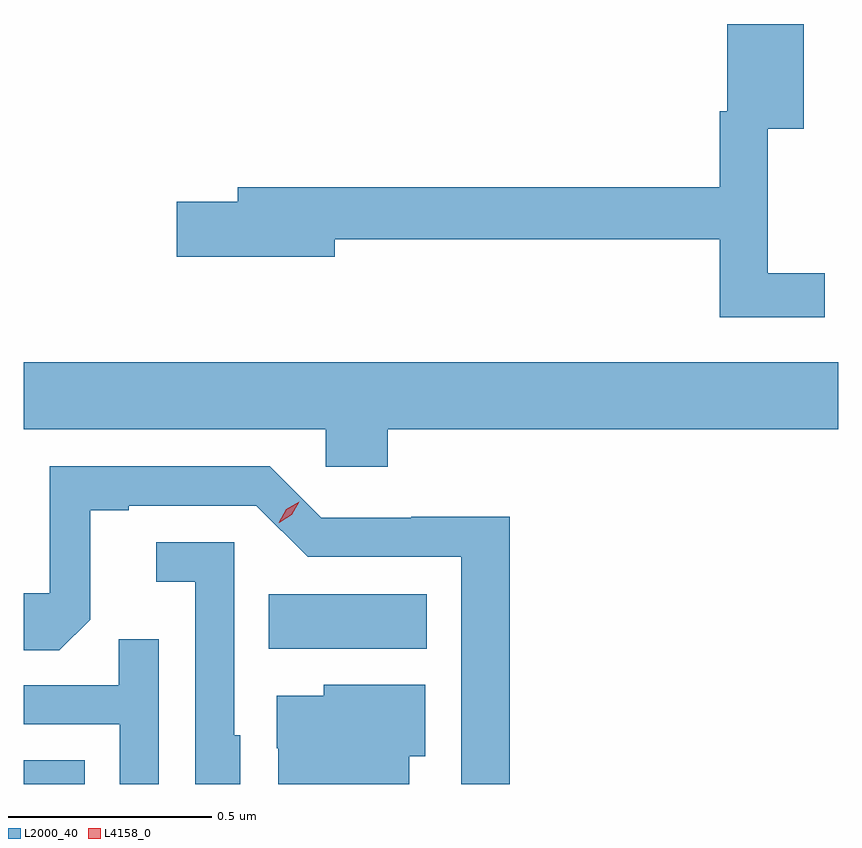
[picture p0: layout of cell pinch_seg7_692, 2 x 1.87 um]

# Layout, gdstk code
import gdstk
lib = gdstk.Library(unit=1e-6, precision=1e-09)
def R(c, l, rs):  # rectangles x0, y0, x1, y1
    for r in rs: c.add(gdstk.rectangle(r[:2], r[2:], *l))
def P(c, l, *ps):  # polygons
    for p in ps: c.add(gdstk.Polygon(p, *l))
L2000_40 = (2000, 40)
L4158_0 = (4158, 0)

pinch_seg7_692 = lib.new_cell('pinch_seg7_692')
R(pinch_seg7_692, L2000_40, [(166.292,1007.736,166.442,1007.794), (166.894,1008.068,167.281,1008.202)])
P(pinch_seg7_692, L2000_40, [(168.259,1008.991),(168.119,1008.991),(168.119,1009.346),(168.208,1009.346),(168.208,1009.603),(168.02,1009.603),(168.02,1009.389),(168.001,1009.389),(168.001,1009.202),(166.817,1009.202),(166.817,1009.166),(166.668,1009.166),(166.668,1009.031),(167.056,1009.031),(167.056,1009.074),(168.001,1009.074),(168.001,1008.882),(168.259,1008.882)],
  [(167.186,1008.608),(168.292,1008.608),(168.292,1008.772),(166.292,1008.772),(166.292,1008.608),(167.034,1008.608),(167.034,1008.515),(167.186,1008.515)],
  [(167.485,1008.392),(167.244,1008.392),(167.244,1008.39),(167.022,1008.39),(166.896,1008.516),(166.356,1008.516),(166.356,1008.204),(166.292,1008.204),(166.292,1008.064),(166.379,1008.064),(166.455,1008.14),(166.455,1008.408),(166.549,1008.408),(166.549,1008.42),(166.863,1008.42),(166.989,1008.294),(167.366,1008.294),(167.366,1007.736),(167.485,1007.736)],
  [(166.824,1007.856),(166.809,1007.856),(166.809,1008.33),(166.617,1008.33),(166.617,1008.233),(166.713,1008.233),(166.713,1007.736),(166.824,1007.736)],
  [(166.623,1008.092),(166.525,1008.092),(166.525,1007.979),(166.292,1007.979),(166.292,1007.883),(166.527,1007.883),(166.527,1007.736),(166.623,1007.736)],
  [(167.239,1007.804),(167.278,1007.804),(167.278,1007.98),(167.028,1007.98),(167.028,1007.953),(166.913,1007.953),(166.913,1007.824),(166.917,1007.824),(166.917,1007.736),(167.239,1007.736)])
P(pinch_seg7_692, L4158_0, [(166.918,1008.378),(166.918,1008.378),(166.936,1008.411),(166.968,1008.429),(166.968,1008.429),(166.968,1008.429),(166.95,1008.397),(166.919,1008.378)])

lib.write_gds('pinch_seg7_692.gds')
